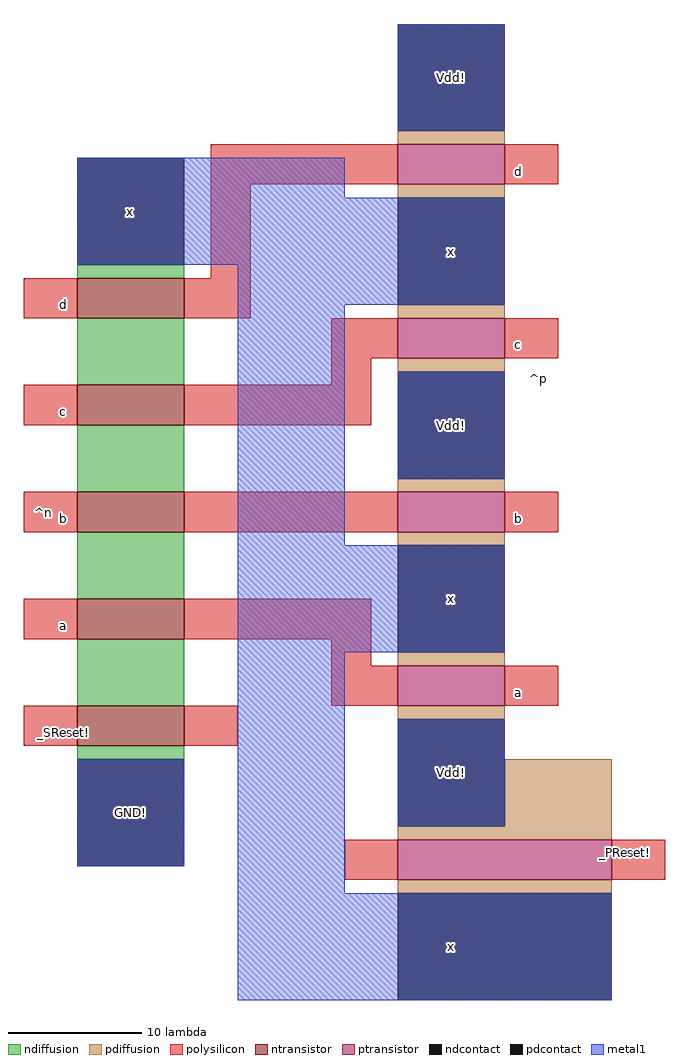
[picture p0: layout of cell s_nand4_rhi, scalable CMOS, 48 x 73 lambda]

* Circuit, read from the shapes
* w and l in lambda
.subckt s_nand4_rhi GND! Vdd! _PReset! _SReset! a b c d x
M1 n1 _SReset! GND! VSUBS nfet w=8 l=3
M2 n2 a n1 VSUBS nfet w=8 l=3
M3 n3 b n2 VSUBS nfet w=8 l=3
M4 n4 c n3 VSUBS nfet w=8 l=3
M5 x d n4 VSUBS nfet w=8 l=3
M6 Vdd! _PReset! x NWELL pfet w=16 l=3
M7 x a Vdd! NWELL pfet w=8 l=3
M8 Vdd! b x NWELL pfet w=8 l=3
M9 x c Vdd! NWELL pfet w=8 l=3
M10 Vdd! d x NWELL pfet w=8 l=3
.ends

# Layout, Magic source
magic
tech scmos
<< ndiffusion >>
rect 17 74 25 75
rect 17 66 25 71
rect 17 58 25 63
rect 17 50 25 55
rect 17 42 25 47
rect 17 38 25 39
<< pdiffusion >>
rect 41 84 49 85
rect 41 80 49 81
rect 41 71 49 72
rect 41 67 49 68
rect 41 58 49 59
rect 41 54 49 55
rect 41 45 49 46
rect 41 41 49 42
rect 49 33 57 38
rect 41 32 57 33
rect 41 28 57 29
<< ntransistor >>
rect 17 71 25 74
rect 17 63 25 66
rect 17 55 25 58
rect 17 47 25 50
rect 17 39 25 42
<< ptransistor >>
rect 41 81 49 84
rect 41 68 49 71
rect 41 55 49 58
rect 41 42 49 45
rect 41 29 57 32
<< polysilicon >>
rect 27 81 41 84
rect 49 81 53 84
rect 27 74 30 81
rect 13 71 17 74
rect 25 71 30 74
rect 36 68 41 71
rect 49 68 53 71
rect 36 66 39 68
rect 13 63 17 66
rect 25 63 39 66
rect 13 55 17 58
rect 25 55 41 58
rect 49 55 53 58
rect 13 47 17 50
rect 25 47 39 50
rect 36 45 39 47
rect 36 42 41 45
rect 49 42 53 45
rect 13 39 17 42
rect 25 39 29 42
rect 37 29 41 32
rect 57 29 61 32
<< ndcontact >>
rect 17 75 25 83
rect 17 30 25 38
<< pdcontact >>
rect 41 85 49 93
rect 41 72 49 80
rect 41 59 49 67
rect 41 46 49 54
rect 41 33 49 41
rect 41 20 57 28
<< metal1 >>
rect 41 85 49 93
rect 17 80 37 83
rect 17 75 49 80
rect 29 72 49 75
rect 29 54 37 72
rect 41 59 49 67
rect 29 46 49 54
rect 17 30 25 38
rect 29 28 37 46
rect 41 33 49 41
rect 29 20 57 28
<< labels >>
rlabel metal1 45 50 45 50 1 x
rlabel metal1 45 63 45 63 5 Vdd!
rlabel metal1 45 37 45 37 1 Vdd!
rlabel polysilicon 50 56 50 56 1 b
rlabel polysilicon 50 43 50 43 1 a
rlabel metal1 45 76 45 76 5 x
rlabel polysilicon 50 69 50 69 1 c
rlabel metal1 45 89 45 89 1 Vdd!
rlabel polysilicon 50 82 50 82 1 d
rlabel polysilicon 16 48 16 48 3 a
rlabel polysilicon 16 56 16 56 3 b
rlabel polysilicon 16 64 16 64 3 c
rlabel metal1 21 79 21 79 1 x
rlabel polysilicon 16 72 16 72 3 d
rlabel metal1 21 34 21 34 1 GND!
rlabel polysilicon 16 40 16 40 3 _SReset!
rlabel space 12 30 17 83 7 ^n
rlabel metal1 45 24 45 24 1 x
rlabel polysilicon 58 31 58 31 1 _PReset!
rlabel space 49 40 54 93 3 ^p
<< end >>
